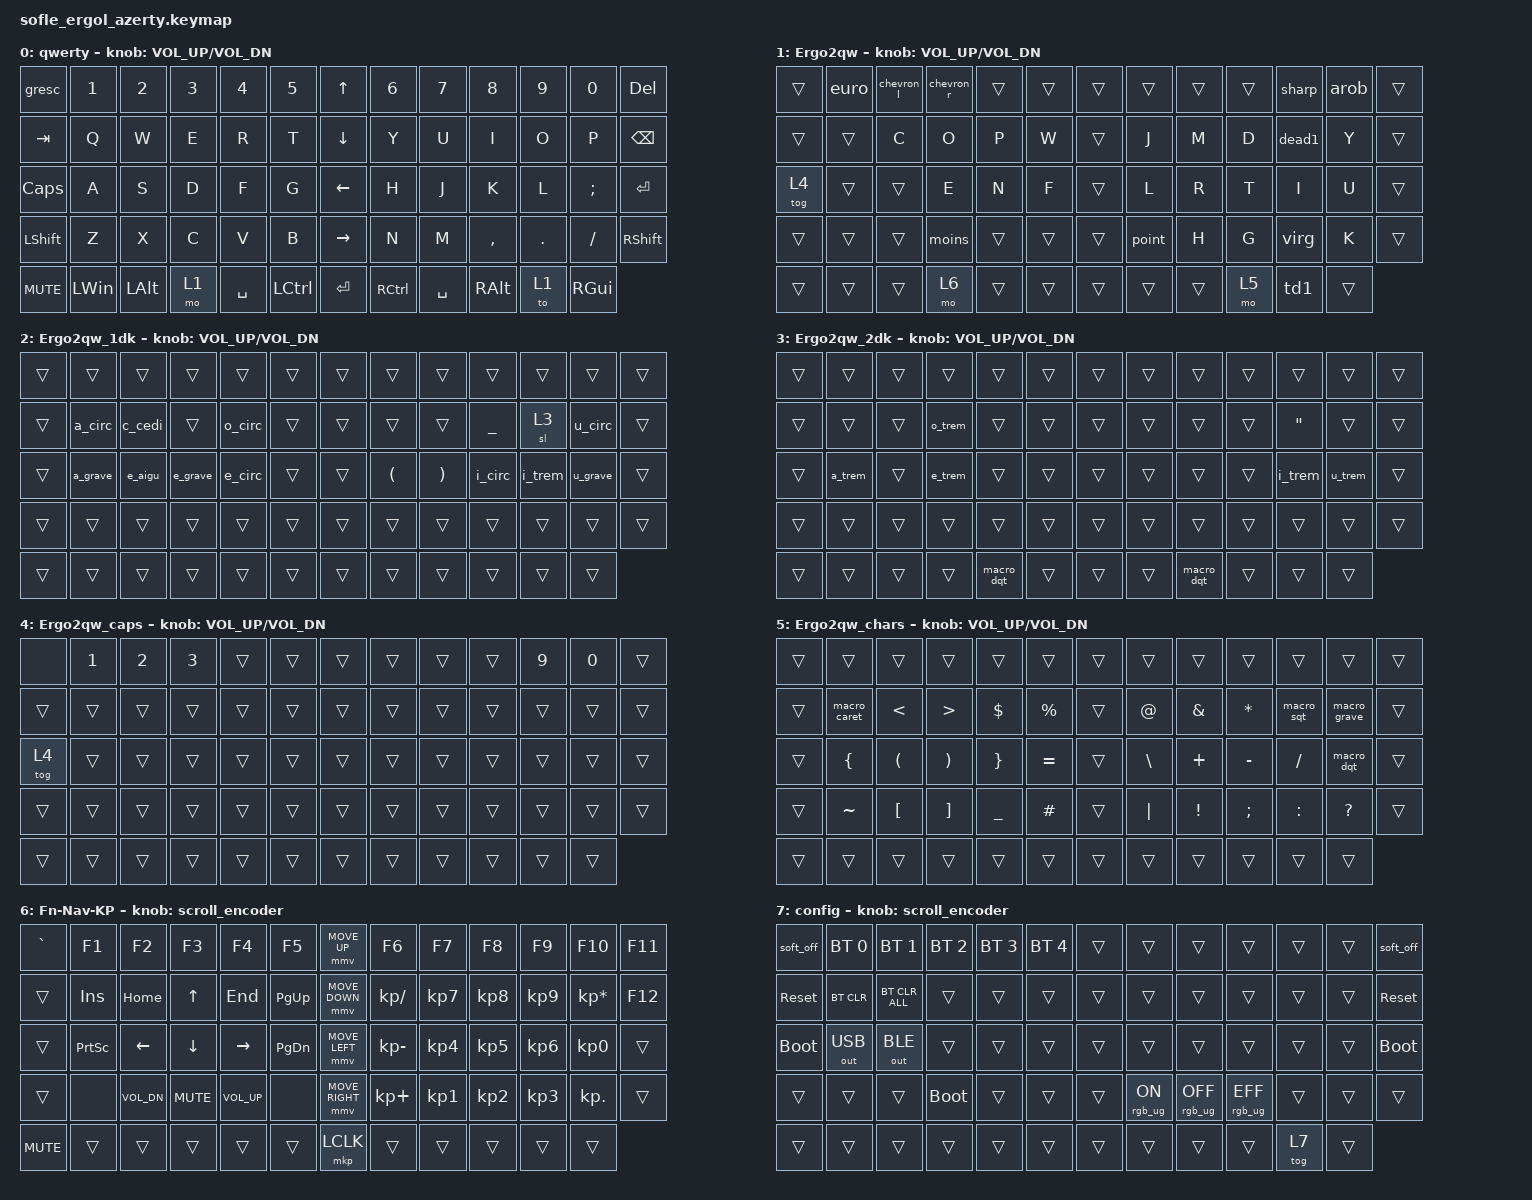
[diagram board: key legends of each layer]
#define ZMK_POINTING_DEFAULT_MOVE_VAL 1200  // 600
#define ZMK_POINTING_DEFAULT_SCRL_VAL 25    // 10

#include <input/processors.dtsi>
#include <zephyr/dt-bindings/input/input-event-codes.h>
#include <behaviors.dtsi>
#include <dt-bindings/zmk/bt.h>
#include <dt-bindings/zmk/keys.h>
#include <dt-bindings/zmk/outputs.h>
#include <dt-bindings/zmk/pointing.h>
#include <dt-bindings/zmk/rgb.h>

&mmv_input_listener { input-processors = <&zip_xy_scaler 2 1>; };

&msc_input_listener { input-processors = <&zip_scroll_scaler 2 1>; };

&msc {
    acceleration-exponent = <1>;      // 0
    time-to-max-speed-ms = <100>;       // 300
    delay-ms = <0>;                   // 0
};

&mmv {
    time-to-max-speed-ms = <500>;
    acceleration-exponent = <1>;
    trigger-period-ms = <16>;
};

/ {
    scroll_encoder: scroll_encoder {
        compatible = "zmk,behavior-sensor-rotate";
        #sensor-binding-cells = <0>;
        bindings = <&msc SCRL_DOWN>, <&msc SCRL_UP>;

        tap-ms = <100>;
    };

    macros {
        ///////////
        // Rangée 1
        ///////////

        // ESC : ESC
        // ` : BSLH SPACE
        macro_grave: macro_grave {
            compatible = "zmk,behavior-macro";
            #binding-cells = <0>;
            bindings
                = <&macro_tap &kp BSLH &kp SPACE>
                ;
        };

        // 1 : LS(N1)
        // euro : RA(E)
        // „ : U+201E : DOUBLE LOW-9 QUOTATION MARK
        macro_dqt_low: macro_double_quote_low {
            ompatible = "zmk,behavior-macro";
            #binding-cells = <0>;
            bindings
                = <&macro_press &kp L_CTL &kp L_SHIFT>
                , <&macro_tap &kp U &kp N2 &kp N0 &kp N1 &kp E &kp SPACE>
                , <&macro_release &kp L_CTL &kp L_SHIFT>
                ;
        };

        // 2 : LS(N2)
        // « : U+00AB : LEFT-POINTING DOUBLE ANGLE QUOTATION MARK {left guillemet; chevrons (in typography)}
        macro_chevron_l: macro_chevron_left {
            compatible = "zmk,behavior-macro";
            #binding-cells = <0>;
            bindings
                = <&macro_press &kp L_CTL &kp L_SHIFT>
                , <&macro_tap &kp U &kp N0 &kp N0 &kp Q &kp B &kp SPACE>
                , <&macro_release &kp L_CTL &kp L_SHIFT>
                ;
        };
        // “ : U+201C : LEFT DOUBLE QUOTATION MARK {double turned comma quotation mark}
        macro_dqm_l: macro_d_quot_mark_left {
            compatible = "zmk,behavior-macro";
            #binding-cells = <0>;
            bindings
                = <&macro_press &kp L_CTL &kp L_SHIFT>
                , <&macro_tap &kp U &kp N2 &kp N0 &kp N1 &kp C &kp SPACE>
                , <&macro_release &kp L_CTL &kp L_SHIFT>
                ;
        };
        // ‘ : U+2018 : LEFT SINGLE QUOTATION MARK {single turned comma quotation mark}
        macro_sqm_l: macro_s_quot_mark_left {
            compatible = "zmk,behavior-macro";
            #binding-cells = <0>;
            bindings
                = <&macro_press &kp L_CTL &kp L_SHIFT>
                , <&macro_tap &kp U &kp N2 &kp N0 &kp N1 &kp N8 &kp SPACE>
                , <&macro_release &kp L_CTL &kp L_SHIFT>
                ;
        };

        // 3 : LS(N3)
        // » : U+00BB : RIGHT-POINTING DOUBLE ANGLE QUOTATION MARK {right guillemet}
        macro_chevron_r: macro_chevron_right {
            compatible = "zmk,behavior-macro";
            #binding-cells = <0>;
            bindings
                = <&macro_press &kp L_CTL &kp L_SHIFT>
                , <&macro_tap &kp U &kp N0 &kp N0 &kp B &kp B &kp SPACE>
                , <&macro_release &kp L_CTL &kp L_SHIFT>
                ;
        };
        // ” : U+201D : RIGHT DOUBLE QUOTATION MARK {double comma quotation mark}
        macro_dqm_r: macro_d_quot_mark_right {
            compatible = "zmk,behavior-macro";
            #binding-cells = <0>;
            bindings
                = <&macro_press &kp L_CTL &kp L_SHIFT>
                , <&macro_tap &kp U &kp N2 &kp N0 &kp N1 &kp D &kp SPACE>
                , <&macro_release &kp L_CTL &kp L_SHIFT>
                ;
        };
        // ‘ : U+2019 : RIGHT SINGLE QUOTATION MARK {single comma quotation mark}
        macro_sqm_r: macro_s_quot_mark_right {
            compatible = "zmk,behavior-macro";
            #binding-cells = <0>;
            bindings
                = <&macro_press &kp L_CTL &kp L_SHIFT>
                , <&macro_tap &kp U &kp N2 &kp N0 &kp N1 &kp N9 &kp SPACE>
                , <&macro_release &kp L_CTL &kp L_SHIFT>
                ;
        };
        
        // 4 : LS(N4)
        // $ : DOLLAR
        // ¢ : U+00A2 : CENT SIGN
        macro_cent: macro_cent {
            compatible = "zmk,behavior-macro";
            #binding-cells = <0>;
            bindings
                = <&macro_press &kp L_CTL &kp L_SHIFT>
                , <&macro_tap &kp U &kp N0 &kp N0 &kp Q &kp N2 &kp SPACE>
                , <&macro_release &kp L_CTL &kp L_SHIFT>
                ;
        }; 

        // 5 : LS(N5)
        // % : DQT
        // ‰ : U+2030 : PER MILLE SIGN {permille, per thousand}
        macro_mer_mil: macro_pour_mille {
            compatible = "zmk,behavior-macro";
            #binding-cells = <0>;
            bindings
                = <&macro_press &kp L_CTL &kp L_SHIFT>
                , <&macro_tap &kp U &kp N2 &kp N0 &kp N3 &kp N0 &kp SPACE>
                , <&macro_release &kp L_CTL &kp L_SHIFT>
                ;
        };
        
        // 6 : LS(N6)
        // ^ : LBKT SPACE
        
        // 7 : LS(N7)
        // & : N7

        // 8 : LS(N8)
        // * : N8

        // 9 : LS(N9)
        // # : RA(N3)
        // ¶ : U+00B6 : PILCROW SIGN {paragraph sign}
        macro_pilcrow: macro_pilcrow {
            compatible = "zmk,behavior-macro";
            #binding-cells = <0>;
            bindings
                = <&macro_press &kp L_CTL &kp L_SHIFT>
                , <&macro_tap &kp U &kp N0 &kp N0 &kp B &kp N6 &kp SPACE>
                , <&macro_release &kp L_CTL &kp L_SHIFT>
                ;
        };

        // 0 : LS(N0)
        // @ : RA(Q)
        // ° : LS(MINUS)
        
        // DELETE

        
        ///////////
        // Rangée 2
        ///////////

        // TAB

        // Q : A
        // â : LBKT A
        // Â : LBKT LS(A)

        // C : C 
        // ç : N9
        // Ç : U+00C7 : LATIN CAPITAL LETTER C WITH CEDILLA
        macro_c_c_cedi: macro_cap_c_cedille {
            compatible = "zmk,behavior-macro";
            #binding-cells = <0>;
            bindings
                = <&macro_press &kp L_CTL &kp L_SHIFT>
                , <&macro_tap &kp U &kp N0 &kp N0 &kp C &kp N7 &kp SPACE>
                , <&macro_release &kp L_CTL &kp L_SHIFT>
                ;
        };

        // O : O
        // œ : U+0153 : LATIN SMALL LIGATURE OE {ethel (from Old English eðel)}
        macro_o_e: macro_o_e {
            compatible = "zmk,behavior-macro";
            #binding-cells = <0>;
            bindings
                = <&macro_press &kp L_CTL &kp L_SHIFT>
                , <&macro_tap &kp U &kp N0 &kp N1 &kp N5 &kp N3 &kp SPACE>
                , <&macro_release &kp L_CTL &kp L_SHIFT>
                ;
        };
        // Œ : U+0152 : LATIN CAPITAL LIGATURE OE
        macro_c_o_e: macro_cap_o_e {
            compatible = "zmk,behavior-macro";
            #binding-cells = <0>;
            bindings
                = <&macro_press &kp L_CTL &kp L_SHIFT>
                , <&macro_tap &kp U &kp N0 &kp N1 &kp N5 &kp N2 &kp SPACE>
                , <&macro_release &kp L_CTL &kp L_SHIFT>
                ;
        };

        // P : P 
        // ô : LBKT O
        // Ô : LBKT LS(O)

        // W : Z 
        
        // J : J
        
        // M : SEMI
        // µ : BSLH

        // D : D
        // _ : UNDERSCORE

        // 1DK : sticky layer
        // 2DK : sticky layer // " : LS(LBKT)
        // ! : N8
        

        // Y : Y
        // û : LBKT U
        // Û : LBKT LS(U)
        
        
        ///////////
        // Rangée 3
        ///////////

        // CAPS

        // A : Q
        // à : N0
        // À : U+00C0 : LATIN CAPITAL LETTER A WITH GRAVE
        macro_c_a_grave: macro_cap_a_grave {
            compatible = "zmk,behavior-macro";
            #binding-cells = <0>;
            bindings
                = <&macro_press &kp L_CTL &kp L_SHIFT>
                , <&macro_tap &kp U &kp N0 &kp N0 &kp C &kp N0 &kp SPACE>
                , <&macro_release &kp L_CTL &kp L_SHIFT>
                ;
        };

        // S : S
        // é : N2
        // É : U+00C9 : LATIN CAPITAL LETTER E WITH ACUTE
        macro_c_e_acute: macro_cap_e_acute {
            compatible = "zmk,behavior-macro";
            #binding-cells = <0>;
            bindings
                = <&macro_press &kp L_CTL &kp L_SHIFT>
                , <&macro_tap &kp U &kp N0 &kp N0 &kp C &kp N9 &kp SPACE>
                , <&macro_release &kp L_CTL &kp L_SHIFT>
                ;
        };

        // E : E
        // è : N3
        // È : U+00C8 : LATIN CAPITAL LETTER E WITH GRAVE
        macro_c_e_grave: macro_cap_e_grave {
            compatible = "zmk,behavior-macro";
            #binding-cells = <0>;
            bindings
                = <&macro_press &kp L_CTL &kp L_SHIFT>
                , <&macro_tap &kp U &kp N0 &kp N0 &kp C &kp N8 &kp SPACE>
                , <&macro_release &kp L_CTL &kp L_SHIFT>
                ;
        };
        
        // N : N
        // ê : LBKT E
        // Ê : LBKT LS(E)

        // F : F
        // ñ : U+00F1 : LATIN SMALL LETTER N WITH TILDE
        macro_n_tilde: macro_n_tilde {
            compatible = "zmk,behavior-macro";
            #binding-cells = <0>;
            bindings
                = <&macro_press &kp L_CTL &kp L_SHIFT>
                , <&macro_tap &kp U &kp N0 &kp N0 &kp F &kp N1 &kp SPACE>
                , <&macro_release &kp L_CTL &kp L_SHIFT>
                ;
        };
        // Ñ : U+00D1 : LATIN CAPITAL LETTER N WITH TILDE
        macro_c_n_tilde: macro_cap_n_tilde {
            compatible = "zmk,behavior-macro";
            #binding-cells = <0>;
            bindings
                = <&macro_press &kp L_CTL &kp L_SHIFT>
                , <&macro_tap &kp U &kp N0 &kp N0 &kp D &kp N1 &kp SPACE>
                , <&macro_release &kp L_CTL &kp L_SHIFT>
                ;
        };

        // L : L
        // ( : N5

        // R : R
        // ) : MINUS

        // T : T
        // î : LBKT I
        // Î : LBKT LS(I)

        // I : I
        // ï : LS(LBKT) I
        // Ï : LS(LBKT) LS(I)

        // U : U
        // ù : SQT
        // Ù : U+00D9 : LATIN CAPITAL LETTER U WITH GRAVE
        macro_c_u_grave: macro_cap_u_grave {
            compatible = "zmk,behavior-macro";
            #binding-cells = <0>;
            bindings
                = <&macro_press &kp L_CTL &kp L_SHIFT>
                , <&macro_tap &kp U &kp N0 &kp N0 &kp D &kp N9 &kp SPACE>
                , <&macro_release &kp L_CTL &kp L_SHIFT>
                ;
        };

        // ENTER

        ///////////
        // Rangée 4 
        ///////////

        // L_SHIFT

        // Z : W
        // æ : U+00E6 : LATIN SMALL LETTER AE {latin small ligature ae (1.1); ash (from Old English æsc)}
        macro_a_e: macro_a_e {
            compatible = "zmk,behavior-macro";
            #binding-cells = <0>;
            bindings
                = <&macro_press &kp L_CTL &kp L_SHIFT>
                , <&macro_tap &kp U &kp N0 &kp N0 &kp E &kp N6 &kp SPACE>
                , <&macro_release &kp L_CTL &kp L_SHIFT>
                ;
        };
        // Æ : U+00C6 : LATIN CAPITAL LETTER AE {latin capital ligature ae (1.1)}
        macro_c_a_e: macro_cap_a_e {
            compatible = "zmk,behavior-macro";
            #binding-cells = <0>;
            bindings
                = <&macro_press &kp L_CTL &kp L_SHIFT>
                , <&macro_tap &kp U &kp N0 &kp N0 &kp C &kp N6 &kp SPACE>
                , <&macro_release &kp L_CTL &kp L_SHIFT>
                ;
        };

        // X : X
        // ß : U+00DF : LATIN SMALL LETTER SHARP S {Eszett}
        macro_s_eszett: macro_s_eszett {
            compatible = "zmk,behavior-macro";
            #binding-cells = <0>;
            bindings
                = <&macro_press &kp L_CTL &kp L_SHIFT>
                , <&macro_tap &kp U &kp N0 &kp N0 &kp D &kp F &kp SPACE>
                , <&macro_release &kp L_CTL &kp L_SHIFT>
                ;
        };
        // ẞ : U+1E9E : LATIN CAPITAL LETTER SHARP S
        macro_s_sharp: macro_s_sharp {
            compatible = "zmk,behavior-macro";
            #binding-cells = <0>;
            bindings
                = <&macro_press &kp L_CTL &kp L_SHIFT>
                , <&macro_tap &kp U &kp N1 &kp E &kp N9 &kp E &kp SPACE>
                , <&macro_release &kp L_CTL &kp L_SHIFT>
                ;
        };

        // - : N6
        // ? : LS(M)
        // ‑ : U+2011 : NON-BREAKING HYPHEN
        macro_nb_hyphen: macro_non_breaking_hyphen {
            compatible = "zmk,behavior-macro";
            #binding-cells = <0>;
            bindings
                = <&macro_press &kp L_CTL &kp L_SHIFT>
                , <&macro_tap &kp U &kp N2 &kp N0 &kp N1 &kp N1 &kp SPACE>
                , <&macro_release &kp L_CTL &kp L_SHIFT>
                ;
        };
        // ¿ : U+00BF : INVERTED QUESTION MARK {turned question mark}
        macro_inv_qmark: macro_inv_question_mark {
            compatible = "zmk,behavior-macro";
            #binding-cells = <0>;
            bindings
                = <&macro_press &kp L_CTL &kp L_SHIFT>
                , <&macro_tap &kp U &kp N0 &kp N0 &kp B &kp F &kp SPACE>
                , <&macro_release &kp L_CTL &kp L_SHIFT>
                ;
        };

        // V : V
        // – : U+2013 : EN DASH
        macro_en_dash: macro_en_dash {
            compatible = "zmk,behavior-macro";
            #binding-cells = <0>;
            bindings
                = <&macro_press &kp L_CTL &kp L_SHIFT>
                , <&macro_tap &kp U &kp N2 &kp N0 &kp N1 &kp N3 &kp SPACE>
                , <&macro_release &kp L_CTL &kp L_SHIFT>
                ;
        };


        // B : B
        // — : U+2014 : EM DASH
        macro_em_dash: macro_em_dash {
            compatible = "zmk,behavior-macro";
            #binding-cells = <0>;
            bindings
                = <&macro_press &kp L_CTL &kp L_SHIFT>
                , <&macro_tap &kp U &kp N2 &kp N0 &kp N1 &kp N4 &kp SPACE>
                , <&macro_release &kp L_CTL &kp L_SHIFT>
                ;
        };

        // . : LS(COMMA)
        // : : DOT
        // … : U+2026 : HORIZONTAL ELLIPSIS {three dot leader}
        macro_h_ellipsis: macro_horizontal_ellipsis {
            compatible = "zmk,behavior-macro";
            #binding-cells = <0>;
            bindings
                = <&macro_press &kp L_CTL &kp L_SHIFT>
                , <&macro_tap &kp U &kp N2 &kp N0 &kp N2 &kp N6 &kp SPACE>
                , <&macro_release &kp L_CTL &kp L_SHIFT>
                ;
        };

        // H : H

        // G : G
        // TODO LAYER TOG ALPHABET GREC !!!

        // , : M
        // ; : COMMA
        // · : U+00B7 : MIDDLE DOT {midpoint (in typography); Georgian comma; Greek middle dot (ano teleia)}
        macro_m_dot: macro_middle_dot {
            compatible = "zmk,behavior-macro";
            #binding-cells = <0>;
            bindings
                = <&macro_press &kp L_CTL &kp L_SHIFT>
                , <&macro_tap &kp U &kp N0 &kp N0 &kp B &kp N7 &kp SPACE>
                , <&macro_release &kp L_CTL &kp L_SHIFT>
                ;
        };
        
        // K : K

        // R_SHIFT

        ///////////
        // Rangée 5
        ///////////

        // L_GUI
        
        // L_ALT

        // LAYER MOD NAV

        // SPACE
        // espace insécable fine : U+202F : NARROW NO-BREAK SPACE [NNBSP]
        macro_sp_insec_fine: macro_space_insec {
            compatible = "zmk,behavior-macro";
            #binding-cells = <0>;
            bindings
                = <&macro_press &kp L_CTL &kp L_SHIFT>
                , <&macro_tap &kp U &kp N2 &kp N0 &kp N2 &kp F &kp SPACE>
                , <&macro_release &kp L_CTL &kp L_SHIFT>
                ;
        };
        // ’ : macro_sqm_r
        
        // L_CTL

        // R_CTL

        // SPACE
        // espace insécable fine : macro_sp_insec_fine
        // ’ : macro_sqm_r

        // LAYER MOD CHARS
    
        // R_ALT

        // R_GUI

        ///////////
        // Symboles
        // Rangée 1
        ///////////

        // TRANS

        // ₁ : U+2081 : SUBSCRIPT ONE
        macro_sub_1: macro_subscript_1 {
            compatible = "zmk,behavior-macro";
            #binding-cells = <0>;
            bindings
                = <&macro_press &kp L_CTL &kp L_SHIFT>
                , <&macro_tap &kp U &kp N2 &kp N0 &kp N8 &kp N1 &kp SPACE>
                , <&macro_release &kp L_CTL &kp L_SHIFT>
                ;
        };
        // ¹ : U+00B9 : SUPERSCRIPT ONE
        macro_sup_1: macro_superscript_1 {
            compatible = "zmk,behavior-macro";
            #binding-cells = <0>;
            bindings
                = <&macro_press &kp L_CTL &kp L_SHIFT>
                , <&macro_tap &kp U &kp N0 &kp N0 &kp B &kp N9 &kp SPACE>
                , <&macro_release &kp L_CTL &kp L_SHIFT>
                ;
        };

        // ₂ : U+2082 : SUBSCRIPT TWO
        macro_sub_2: macro_subscript_2 {
            compatible = "zmk,behavior-macro";
            #binding-cells = <0>;
            bindings
                = <&macro_press &kp L_CTL &kp L_SHIFT>
                , <&macro_tap &kp U &kp N2 &kp N0 &kp N8 &kp N2 &kp SPACE>
                , <&macro_release &kp L_CTL &kp L_SHIFT>
                ;
        };
        // ² : GRAVE

        // ₃ : U+2083 : SUBSCRIPT THREE
        macro_sub_3: macro_subscript_3 {
            compatible = "zmk,behavior-macro";
            #binding-cells = <0>;
            bindings
                = <&macro_press &kp L_CTL &kp L_SHIFT>
                , <&macro_tap &kp U &kp N2 &kp N0 &kp N8 &kp N3 &kp SPACE>
                , <&macro_release &kp L_CTL &kp L_SHIFT>
                ;
        };
        // ³ : LS(GRAVE)

        // ₄ : U+2084 : SUBSCRIPT FOUR
        macro_sub_4: macro_subscript_4 {
            compatible = "zmk,behavior-macro";
            #binding-cells = <0>;
            bindings
                = <&macro_press &kp L_CTL &kp L_SHIFT>
                , <&macro_tap &kp U &kp N2 &kp N0 &kp N8 &kp N4 &kp SPACE>
                , <&macro_release &kp L_CTL &kp L_SHIFT>
                ;
        };
        // ⁴ : U+2074 : SUPERSCRIPT FOUR
        macro_sup_4: macro_superscript_4 {
            compatible = "zmk,behavior-macro";
            #binding-cells = <0>;
            bindings
                = <&macro_press &kp L_CTL &kp L_SHIFT>
                , <&macro_tap &kp U &kp N2 &kp N0 &kp N7 &kp N4 &kp SPACE>
                , <&macro_release &kp L_CTL &kp L_SHIFT>
                ;
        };

        // ₅ : U+2085 : SUBSCRIPT FIVE
        macro_sub_5: macro_subscript_5 {
            compatible = "zmk,behavior-macro";
            #binding-cells = <0>;
            bindings
                = <&macro_press &kp L_CTL &kp L_SHIFT>
                , <&macro_tap &kp U &kp N2 &kp N0 &kp N8 &kp N5 &kp SPACE>
                , <&macro_release &kp L_CTL &kp L_SHIFT>
                ;
        };
        // ⁵ : U+2075 : SUPERSCRIPT FIVE
        macro_sup_5: macro_superscript_5 {
            compatible = "zmk,behavior-macro";
            #binding-cells = <0>;
            bindings
                = <&macro_press &kp L_CTL &kp L_SHIFT>
                , <&macro_tap &kp U &kp N2 &kp N0 &kp N7 &kp N5 &kp SPACE>
                , <&macro_release &kp L_CTL &kp L_SHIFT>
                ;
        };

        // ₆ : U+2086 : SUBSCRIPT SIX
        macro_sub_6: macro_subscript_6 {
            compatible = "zmk,behavior-macro";
            #binding-cells = <0>;
            bindings
                = <&macro_press &kp L_CTL &kp L_SHIFT>
                , <&macro_tap &kp U &kp N2 &kp N0 &kp N8 &kp N6 &kp SPACE>
                , <&macro_release &kp L_CTL &kp L_SHIFT>
                ;
        };
        // ⁶ : U+2076 : SUPERSCRIPT SIX
        macro_sup_6: macro_superscript_6 {
            compatible = "zmk,behavior-macro";
            #binding-cells = <0>;
            bindings
                = <&macro_press &kp L_CTL &kp L_SHIFT>
                , <&macro_tap &kp U &kp N2 &kp N0 &kp N7 &kp N6 &kp SPACE>
                , <&macro_release &kp L_CTL &kp L_SHIFT>
                ;
        };

        // ₇ : U+2087 : SUBSCRIPT SEVEN
        macro_sub_7: macro_subscript_7 {
            compatible = "zmk,behavior-macro";
            #binding-cells = <0>;
            bindings
                = <&macro_press &kp L_CTL &kp L_SHIFT>
                , <&macro_tap &kp U &kp N2 &kp N0 &kp N8 &kp N7 &kp SPACE>
                , <&macro_release &kp L_CTL &kp L_SHIFT>
                ;
        };
        // ⁷ : U+2077 : SUPERSCRIPT SEVEN
        macro_sup_7: macro_superscript_7 {
            compatible = "zmk,behavior-macro";
            #binding-cells = <0>;
            bindings
                = <&macro_press &kp L_CTL &kp L_SHIFT>
                , <&macro_tap &kp U &kp N2 &kp N0 &kp N7 &kp N7 &kp SPACE>
                , <&macro_release &kp L_CTL &kp L_SHIFT>
                ;
        };

        // ₈ : U+2088 : SUBSCRIPT EIGHT
        macro_sub_8: macro_subscript_8 {
            compatible = "zmk,behavior-macro";
            #binding-cells = <0>;
            bindings
                = <&macro_press &kp L_CTL &kp L_SHIFT>
                , <&macro_tap &kp U &kp N2 &kp N0 &kp N8 &kp N8 &kp SPACE>
                , <&macro_release &kp L_CTL &kp L_SHIFT>
                ;
        };
        // ⁸ : U+2078 : SUPERSCRIPT EIGHT
        macro_sup_8: macro_superscript_8 {
            compatible = "zmk,behavior-macro";
            #binding-cells = <0>;
            bindings
                = <&macro_press &kp L_CTL &kp L_SHIFT>
                , <&macro_tap &kp U &kp N2 &kp N0 &kp N7 &kp N8 &kp SPACE>
                , <&macro_release &kp L_CTL &kp L_SHIFT>
                ;
        };

        // ₉ : U+2089 : SUBSCRIPT NINE
        macro_sub_9: macro_subscript_9 {
            compatible = "zmk,behavior-macro";
            #binding-cells = <0>;
            bindings
                = <&macro_press &kp L_CTL &kp L_SHIFT>
                , <&macro_tap &kp U &kp N2 &kp N0 &kp N8 &kp N9 &kp SPACE>
                , <&macro_release &kp L_CTL &kp L_SHIFT>
                ;
        };
        // ⁹ : U+2079 : SUPERSCRIPT NINE
        macro_sup_9: macro_superscript_9 {
            compatible = "zmk,behavior-macro";
            #binding-cells = <0>;
            bindings
                = <&macro_press &kp L_CTL &kp L_SHIFT>
                , <&macro_tap &kp U &kp N2 &kp N0 &kp N7 &kp N9 &kp SPACE>
                , <&macro_release &kp L_CTL &kp L_SHIFT>
                ;
        };

        // ₀ : U+2080 : SUBSCRIPT ZERO
        macro_sub_0: macro_subscript_0 {
            compatible = "zmk,behavior-macro";
            #binding-cells = <0>;
            bindings
                = <&macro_press &kp L_CTL &kp L_SHIFT>
                , <&macro_tap &kp U &kp N2 &kp N0 &kp N8 &kp N0 &kp SPACE>
                , <&macro_release &kp L_CTL &kp L_SHIFT>
                ;
        };
        // ⁰ : U+2070 : SUPERSCRIPT ZERO
        macro_sup_0: macro_superscript_0 {
            compatible = "zmk,behavior-macro";
            #binding-cells = <0>;
            bindings
                = <&macro_press &kp L_CTL &kp L_SHIFT>
                , <&macro_tap &kp U &kp N2 &kp N0 &kp N7 &kp N0 &kp SPACE>
                , <&macro_release &kp L_CTL &kp L_SHIFT>
                ;
        };

        // TRANS

        ///////////
        // Symboles
        // Rangée 2
        ///////////

        // TRANS

        // ^ : LBKT SPACE
        // ^ : MODIFIER : LBKT 

        // < : U+003C : LESS-THAN SIGN
        macro_less_than: macro_less_than {
            compatible = "zmk,behavior-macro";
            #binding-cells = <0>;
            bindings
                = <&macro_press &kp L_CTL &kp L_SHIFT>
                , <&macro_tap &kp U &kp N0 &kp N0 &kp N3 &kp C &kp SPACE>
                , <&macro_release &kp L_CTL &kp L_SHIFT>
                ;
        };
        // ≤ : U+2264 : LESS-THAN OR EQUAL TO
        macro_less_eq_to: macro_less_equal_to {
            compatible = "zmk,behavior-macro";
            #binding-cells = <0>;
            bindings
                = <&macro_press &kp L_CTL &kp L_SHIFT>
                , <&macro_tap &kp U &kp N2 &kp N2 &kp N6 &kp N4 &kp SPACE>
                , <&macro_release &kp L_CTL &kp L_SHIFT>
                ;
        };

        // > : U+003E : GREATER-THAN SIGN
        macro_great_than: macro_greater_than {
            compatible = "zmk,behavior-macro";
            #binding-cells = <0>;
            bindings
                = <&macro_press &kp L_CTL &kp L_SHIFT>
                , <&macro_tap &kp U &kp N0 &kp N0 &kp N3 &kp E &kp SPACE>
                , <&macro_release &kp L_CTL &kp L_SHIFT>
                ;
        };
        // ≥ : U+2265 : GREATER-THAN OR EQUAL TO
        macro_great_eq_to: macro_greater_equal_to {
            compatible = "zmk,behavior-macro";
            #binding-cells = <0>;
            bindings
                = <&macro_press &kp L_CTL &kp L_SHIFT>
                , <&macro_tap &kp U &kp N2 &kp N2 &kp N6 &kp N5 &kp SPACE>
                , <&macro_release &kp L_CTL &kp L_SHIFT>
                ;
        };

        // $ : U+0024 : DOLLAR SIGN {milréis, escudo} : RBKT
        // ¤ : TODO CURRENCY LAYER TOG

        // % : U+0025 : PERCENT SIGN : LS(SQT)
        // ‰ : U+2030 : PER MILLE SIGN {permille, per thousand}
        macro_per_mil: macro_per_mille {
            compatible = "zmk,behavior-macro";
            #binding-cells = <0>;
            bindings
                = <&macro_press &kp L_CTL &kp L_SHIFT>
                , <&macro_tap &kp U &kp N2 &kp N0 &kp N3 &kp N0 &kp SPACE>
                , <&macro_release &kp L_CTL &kp L_SHIFT>
                ;
        };

        // @ : RA(N2)
        // ° : TODO ACCENT ROND LAYER TOG 

        // & : N1
        // NONE

        // * : LS(RBKT)
        // × : U+00D7 : MULTIPLICATION SIGN {z notation Cartesian product}
        macro_multiply: macro_multiply {
            compatible = "zmk,behavior-macro";
            #binding-cells = <0>;
            bindings
                = <&macro_press &kp L_CTL &kp L_SHIFT>
                , <&macro_tap &kp U &kp N0 &kp N0 &kp D &kp N7 &kp SPACE>
                , <&macro_release &kp L_CTL &kp L_SHIFT>
                ;
        };

        // ' : N4
        // ' : RA(SQT)

        // ` : macro_grave
        // ` : RA(BSLH)

        // TRANS

        ///////////
        // Symboles
        // Rangée 3
        ///////////

        // TRANS

        // { : RA(N9)
        // ˇ : TODO ACCENT CIRCONFLEXE INVERSÉ LAYER TOG

        // ( : N5
        // NONE

        // ) : N6
        // NONE

        // } : RA(N0)
        // ˙ : TODO ACCENT POINT LAYER TOG

        // = : FSLH
        // ≠ : U+2260 : NOT EQUAL TO
        macro_not_equal: macro_not_equal {
            compatible = "zmk,behavior-macro";
            #binding-cells = <0>;
            bindings
                = <&macro_press &kp L_CTL &kp L_SHIFT>
                , <&macro_tap &kp U &kp N2 &kp N2 &kp N6 &kp N0 &kp SPACE>
                , <&macro_release &kp L_CTL &kp L_SHIFT>
                ;
        };

        // \ : RA(N8)
        // / : TODO BARRÉ LAYER TOG

        // + : LS(FSLH)
        // ± : U+00B1 : PLUS-MINUS SIGN {biquintile (astrological aspect: 144°)}
        macro_plus_minus: macro_plus_minus {
            compatible = "zmk,behavior-macro";
            #binding-cells = <0>;
            bindings
                = <&macro_press &kp L_CTL &kp L_SHIFT>
                , <&macro_tap &kp U &kp N0 &kp N0 &kp B &kp N1 &kp SPACE>
                , <&macro_release &kp L_CTL &kp L_SHIFT>
                ;
        };

        // - : N6
        // ¯ : TODO ACCENT TRAIT LAYER TOG

        // / : LS(DOT)
        // ÷ : U+00F7 : DIVISION SIGN {obelus}
        macro_division: macro_division {
            compatible = "zmk,behavior-macro";
            #binding-cells = <0>;
            bindings
                = <&macro_press &kp L_CTL &kp L_SHIFT>
                , <&macro_tap &kp U &kp N0 &kp N0 &kp F &kp N7 &kp SPACE>
                , <&macro_release &kp L_CTL &kp L_SHIFT>
                ;
        };

        // " : N3
        // ˝ : TODO ACCENT DOUBLE AIGU LAYER TOG

        // TRANS

        ///////////
        // Symboles
        // Rangée 4
        ///////////

        // TRANS

        // ~ : RA(N2)
        // ~ : TODO ACCENT TILDE LAYER TOG

        // [ : RA(N5)
        // , : TODO CÉDILLE LAYER TOG

        // ] : RA(MINUS)
        // ˛ : TODO CÉDILLE INVERSÉE LAYER TOG

        // _ : RA(N8)
        // – : U+2013 : EN DASH : macro_en_dash

        // # : RA(N3)
        // NONE

        // | : RA(N6)
        // ¦ : U+00A6 : BROKEN BAR {parted rule (in typography)}
        macro_broken_bar: macro_broken_bar {
            compatible = "zmk,behavior-macro";
            #binding-cells = <0>;
            bindings
                = <&macro_press &kp L_CTL &kp L_SHIFT>
                , <&macro_tap &kp U &kp N0 &kp N0 &kp A &kp N6 &kp SPACE>
                , <&macro_release &kp L_CTL &kp L_SHIFT>
                ;
        };

        // ! : FSLH
        // ¬ : U+00AC : NOT SIGN {angled dash (in typography)}
        macro_not: macro_not {
            compatible = "zmk,behavior-macro";
            #binding-cells = <0>;
            bindings
                = <&macro_press &kp L_CTL &kp L_SHIFT>
                , <&macro_tap &kp U &kp N0 &kp N0 &kp A &kp C &kp SPACE>
                , <&macro_release &kp L_CTL &kp L_SHIFT>
                ;
        };

        // ; : COMMA
        // ¸ : TODO CÉDILLE COURBE LAYER TOG

        // : : DOT
        // : : DOT

        // ? : LS(M)
        // ˘ : TODO ACCENT CIRCONFLEXE INVERSÉ ARRONDI LAYER TOG

        // TRANS

        ///////////
        // Symboles
        // Rangée 4
        ///////////

        // TRANS

        // TRANS

        // TRANS

        // espace insécable fine : macro_sp_insec_fine
        // espace insécable : U+00A0 : NO-BREAK SPACE [NBSP]
        macro_sp_insec: macro_sp_insec {
            compatible = "zmk,behavior-macro";
            #binding-cells = <0>;
            bindings
                = <&macro_press &kp L_CTL &kp L_SHIFT>
                , <&macro_tap &kp U &kp N0 &kp N0 &kp A &kp N0 &kp SPACE>
                , <&macro_release &kp L_CTL &kp L_SHIFT>
                ;
        };

        // TRANS

        // TRANS

        // espace insécable fine : macro_sp_insec_fine
        // espace insécable : macro_sp_insec

        // TRANS

        // TRANS

        // TRANS

    };    

  behaviors {
        gresc: grave_escape {
            compatible = "zmk,behavior-mod-morph";
            #binding-cells = <0>;
            bindings = <&kp ESC>, <&macro_grave>;
            mods = <(MOD_LGUI|MOD_LSFT|MOD_RGUI|MOD_RSFT)>;
        };

        euro: euro {
            compatible = "zmk,behavior-mod-morph";
            #binding-cells = <0>;
            bindings = <&kp N1>, <&kp RA(N5)>;
            mods = <(MOD_LSFT|MOD_RSFT)>;
        };

        chevron_l: chevron_left {
            compatible = "zmk,behavior-mod-morph";
            #binding-cells = <0>;
            bindings = <&kp N2>, <&macro_chevron_l>;
            mods = <(MOD_LSFT|MOD_RSFT)>;
        };
 
        chevron_r: chevron_right {
            compatible = "zmk,behavior-mod-morph";
            #binding-cells = <0>;
            bindings = <&kp N3>, <&macro_chevron_r>;
            mods = <(MOD_LSFT|MOD_RSFT)>;
        };

        sharp: sharp {
            compatible = "zmk,behavior-mod-morph";
            #binding-cells = <0>;
            bindings = <&kp N9>, <&kp LS(N3)>;
            mods = <(MOD_LSFT|MOD_RSFT)>;
        };

        arob: arobase {
            compatible = "zmk,behavior-mod-morph";
            #binding-cells = <0>;
            bindings = <&kp N0>, <&kp LS(N2)>;
            mods = <(MOD_LSFT|MOD_RSFT)>;
        };
    
        moins: moins_p_inter {
            compatible = "zmk,behavior-mod-morph";
            #binding-cells = <0>;
            bindings = <&kp MINUS>, <&kp LS(FSLH)>;
            mods = <(MOD_LSFT|MOD_RSFT)>;
        };

        point: point_2_points {
            compatible = "zmk,behavior-mod-morph";
            #binding-cells = <0>;
            bindings = <&kp PERIOD>, <&kp LS(SEMI)>;
            mods = <(MOD_LSFT|MOD_RSFT)>;
        };

        virg: virgule_p_virg {
            compatible = "zmk,behavior-mod-morph";
            #binding-cells = <0>;
            bindings = <&kp COMMA>, <&kp SEMI>;
            mods = <(MOD_LSFT|MOD_RSFT)>;
        };

        dead1: dead_1_key_expl {
            compatible = "zmk,behavior-mod-morph";
            #binding-cells = <0>;
            bindings = <&sl 2>, <&kp LS(N1)>;
            mods = <(MOD_LSFT|MOD_RSFT)>;
        };

        td0: tap_dance_ergol_conf {
            compatible = "zmk,behavior-tap-dance";
            label = "ERGOL_CONF";
            #binding-cells = <0>;
            tapping-term-ms = <200>;
            bindings = <&to 1>, <&tog 7>;
        };

        td1: tap_dance_qwerty_conf {
            compatible = "zmk,behavior-tap-dance";
            label = "QWERTY_CONF";
            #binding-cells = <0>;
            tapping-term-ms = <200>;
            bindings = <&to 0>, <&tog 7>;
        };

        e_aigu: e_aigu {
            compatible = "zmk,behavior-mod-morph";
            #binding-cells = <0>;
            bindings = <&macro_e_aigu>, <&macro_cap_e_aigu>;
            mods = <(MOD_LSFT|MOD_RSFT)>;
        };
 
        e_grave: e_grave {
            compatible = "zmk,behavior-mod-morph";
            #binding-cells = <0>;
            bindings = <&macro_e_grave>, <&macro_cap_e_grave>;
            mods = <(MOD_LSFT|MOD_RSFT)>;
        };

        e_circ: e_circ {
            compatible = "zmk,behavior-mod-morph";
            #binding-cells = <0>;
            bindings = <&macro_e_circ>, <&macro_cap_e_circ>;
            mods = <(MOD_LSFT|MOD_RSFT)>;
        };

        e_trem: e_trem {
            compatible = "zmk,behavior-mod-morph";
            #binding-cells = <0>;
            bindings = <&macro_e_trem>, <&macro_cap_e_trem>;
            mods = <(MOD_LSFT|MOD_RSFT)>;
        };

        a_grave: a_grave {
            compatible = "zmk,behavior-mod-morph";
            #binding-cells = <0>;
            bindings = <&macro_a_grave>, <&macro_cap_a_grave>;
            mods = <(MOD_LSFT|MOD_RSFT)>;
        };

        a_circ: a_circ {
            compatible = "zmk,behavior-mod-morph";
            #binding-cells = <0>;
            bindings = <&macro_a_circ>, <&macro_cap_a_circ>;
            mods = <(MOD_LSFT|MOD_RSFT)>;
        };

        a_trem: a_trem {
            compatible = "zmk,behavior-mod-morph";
            #binding-cells = <0>;
            bindings = <&macro_a_trem>, <&macro_cap_a_trem>;
            mods = <(MOD_LSFT|MOD_RSFT)>;
        };

        u_grave: u_grave {
            compatible = "zmk,behavior-mod-morph";
            #binding-cells = <0>;
            bindings = <&macro_u_grave>, <&macro_cap_u_grave>;
            mods = <(MOD_LSFT|MOD_RSFT)>;
        };

        u_circ: u_circ {
            compatible = "zmk,behavior-mod-morph";
            #binding-cells = <0>;
            bindings = <&macro_u_circ>, <&macro_cap_u_circ>;
            mods = <(MOD_LSFT|MOD_RSFT)>;
        };

        u_trem: u_trem {
            compatible = "zmk,behavior-mod-morph";
            #binding-cells = <0>;
            bindings = <&macro_u_trem>, <&macro_cap_u_trem>;
            mods = <(MOD_LSFT|MOD_RSFT)>;
        };

        i_circ: i_circ {
            compatible = "zmk,behavior-mod-morph";
            #binding-cells = <0>;
            bindings = <&macro_i_circ>, <&macro_cap_i_circ>;
            mods = <(MOD_LSFT|MOD_RSFT)>;
        };

        i_trem: i_trem {
            compatible = "zmk,behavior-mod-morph";
            #binding-cells = <0>;
            bindings = <&macro_i_trem>, <&macro_cap_i_trem>;
            mods = <(MOD_LSFT|MOD_RSFT)>;
        };

        o_circ: o_circ {
            compatible = "zmk,behavior-mod-morph";
            #binding-cells = <0>;
            bindings = <&macro_o_circ>, <&macro_cap_o_circ>;
            mods = <(MOD_LSFT|MOD_RSFT)>;
        };

        o_trem: o_trem {
            compatible = "zmk,behavior-mod-morph";
            #binding-cells = <0>;
            bindings = <&macro_o_trem>, <&macro_cap_o_trem>;
            mods = <(MOD_LSFT|MOD_RSFT)>;
        };

        c_cedi: c_cedi {
            compatible = "zmk,behavior-mod-morph";
            #binding-cells = <0>;
            bindings = <&macro_c_cedi>, <&macro_cap_c_cedi>;
            mods = <(MOD_LSFT|MOD_RSFT)>;
        };
    };

    keymap {
        compatible = "zmk,keymap";

        default_layer { // layer 0

            display-name = "qwerty";
            label = "qwerty";

// --------------------------------------------------------------------------------------------------------------------
// | ESC     |  1  |  2  |  3   |  4   |  5   |   | UP_ARROW    |   |  6   |  7    |  8    |  9   |   0   | DELETE    |
// | TAB     |  Q  |  W  |  E   |  R   |  T   |   | DOWN_ARROW  |   |  Y   |  U    |  I    |  O   |   P   | BACKSPACE |
// | CAPS    |  A  |  S  |  D   |  F   |  G   |   | LEFT_ARROW  |   |  H   |  J    |  K    |  L   |   ;   | ENTER     |
// | L_SHIFT |  Z  |  X  |  C   |  V   |  B   |   | RIGHT_ARROW |   |  N   |  M    |  ,    |  .   |   /   | SHIFT     |
// | C_MUTE  |  | L_GUI | L_ALT | NAV | SPACE| L_CTL |  | ENTER |  | R_CTL | SPACE | R_ALT | TD_1_7 | R_GUI |
// | C_VOL_UP ! C_VOL_DN |

            bindings = <
&gresc      &kp N1        &kp N2        &kp N3  &kp N4     &kp N5       &kp UP_ARROW     &kp N6     &kp N7     &kp N8     &kp N9   &kp N0    &kp DELETE
&kp TAB     &kp Q         &kp W         &kp E   &kp R      &kp T        &kp DOWN_ARROW   &kp Y      &kp U      &kp I      &kp O    &kp P     &kp BACKSPACE
&kp CAPS    &kp A         &kp S         &kp D   &kp F      &kp G        &kp LEFT_ARROW   &kp H      &kp J      &kp K      &kp L    &kp SEMI  &kp ENTER
&kp LSHFT   &kp Z         &kp X         &kp C   &kp V      &kp B        &kp RIGHT_ARROW  &kp N      &kp M      &kp COMMA  &kp DOT  &kp FSLH  &kp RIGHT_SHIFT
&kp C_MUTE  &kp LEFT_WIN  &kp LEFT_ALT  &mo 1   &kp SPACE  &kp LCTRL    &kp ENTER        &kp RCTRL  &kp SPACE  &kp RALT   &to 1    &kp RGUI
            >;

            sensor-bindings = <&inc_dec_kp C_VOLUME_UP C_VOL_DN>;
        };
    
        ergol_layer { // layer 1

            display-name = "Ergo2qw";  // Ergol sur QWERTY US International
            label = "Ergo2qw_default";

// --------------------------------------------------------------------------------------------------------------------
// |         | 1/€ | 2 « | 3 »  |      |      |   |             |   |      |       |       |  9 # |  0 @  |           |
// |         |     |  C  |  O   |  P   |  W   |   |             |   |  J   |  U    |  D    | DK ! |   Y   |           |
// | TOG_4   |     |     |  E   |  N   |  F   |   |             |   |  L   |  R    |  T    |  I   |   U   |           |
// |         |     |     |  - ? |      |      |   |             |   | . :  |  H    |  G    |  , ; |   K   |           |
// |      |  |      |      | NAV | SP SP_INSEC |     |  |       |  |      | SP SP_INSEC | MO_CHARS | TD_0_7 |      |       !!!
// | C_VOL_UP ! C_VOL_DN |

            bindings = <
&trans      &euro         &chevron_l    &chevron_r &trans     &trans       &trans           &trans      &trans     &trans    &sharp     &arob     &trans
&trans      &trans        &kp C         &kp O      &kp P      &kp W        &trans           &kp J       &kp M      &kp D     &dead1     &kp Y     &trans
&tog 4      &trans        &trans        &kp E      &kp N      &kp F        &trans           &kp L       &kp R      &kp T     &kp I      &kp U     &trans
&trans      &trans        &trans        &moins     &trans     &trans       &trans           &point      &kp H      &kp G     &virg      &kp K     &trans
&trans      &trans        &trans        &mo 6      &trans     &trans       &trans           &trans      &trans     &mo 5     &td1       &trans
            >;

            sensor-bindings = <&inc_dec_kp C_VOLUME_UP C_VOL_DN>;
        };

        dead_1k_layer { // layer 2

            label = "Ergo2qw_1dk";
            display-name = "Ergo2qw_1dk";

// --------------------------------------------------------------------------------------------------------------
// |         |      | “ !! | ” !! |      |      |   |         |   |      |       |       |      |       |         |    !!!
// |         |  â   |  ç   | œ !! |   ô  |      |   |         |   |      |       |   _   |  ¨   |   û   |         |    !!!
// |         |  à   |  é   |  è   |   ê  |      |   |         |   |   (  |    )  |   î   |  ï   |   ù   |         |
// |         | æ !! |      | ‑ !! | – !! | — !! |   |         |   | … !! |       |       |      |       |         |    !!!
// |      |  |      |      |      |      |      |   |         |   |      |       |       |      |       |
// | C_VOL_UP ! C_VOL_DN |
    
            bindings = <
&trans      &trans     &trans     &trans       &trans     &trans    &trans   &trans    &trans   &trans    &trans     &trans    &trans
&trans      &a_circ    &c_cedi    &trans       &o_circ    &trans    &trans   &trans    &trans   &kp UNDER &sl 3      &u_circ    &trans
&trans      &a_grave   &e_aigu    &e_grave     &e_circ    &trans    &trans   &kp LPAR  &kp RPAR &i_circ   &i_trem    &u_grave  &trans
&trans      &trans     &trans     &trans       &trans     &trans    &trans   &trans    &trans   &trans    &trans     &trans    &trans
&trans      &trans     &trans     &trans       &trans     &trans    &trans   &trans    &trans   &trans    &trans     &trans
            >;

            sensor-bindings = <&inc_dec_kp C_VOLUME_UP C_VOL_DN>;
        };

        dead_2k_layer { // layer 3

            label = "Ergo2qw_2dk";
            display-name = "Ergo2qw_2dk";

// --------------------------------------------------------------------------------------------------------------
// |         |     |     |      |      |      |   |         |   |      |       |       |      |       |         |   
// |         |     |     |  ö   |      |      |   |         |   |      |       |       |  "   | ÿ !!  |         |   !!!
// |         |  ä  |     |  ë   |      |      |   |         |   |      |       |       |  ï   |   ü   |         |
// |         |     |     |      |      |      |   |         |   |      |       |       |      |       |         |
// |      |  |     |     |      | ¨ !! |     |   |        |   |      | ¨ !!  |       |      |       |               !!!   " et pas trema !! 
// | C_VOL_UP ! C_VOL_DN |
    
            bindings = <
&trans  &trans    &trans   &trans    &trans     &trans    &trans   &trans   &trans     &trans    &trans     &trans    &trans
&trans  &trans    &trans   &o_trem   &trans     &trans    &trans   &trans   &trans     &trans    &kp DQT    &trans    &trans
&trans  &a_trem   &trans   &e_trem   &trans     &trans    &trans   &trans   &trans     &trans    &i_trem    &u_trem   &trans
&trans  &trans    &trans   &trans    &trans     &trans    &trans   &trans   &trans     &trans    &trans     &trans    &trans
&trans  &trans    &trans   &trans    &macro_dqt &trans    &trans   &trans   &macro_dqt &trans    &trans     &trans
            >;

            sensor-bindings = <&inc_dec_kp C_VOLUME_UP C_VOL_DN>;
        };

        caps_layer { // layer 4 

            label = "Ergo2qw_caps";
            display-name = "Ergo2qw_caps";

// --------------------------------------------------------------------------------------------------------------
// |   NONE  |  1  |  2  |  3   |      |      |   |         |   |      |       |       |  8   |   9   |         |
// |         |     |     |      |      |      |   |         |   |      |       |       |      |       |         |
// |  TOG_4  |     |     |      |      |      |   |         |   |      |       |       |      |       |         |
// |         |     |     |      |      |      |   |         |   |      |       |       |      |       |         |
// |      |  |     |     |      |      |      |   |         |   |      |       |       |      |       |
// | C_VOL_UP ! C_VOL_DN |
    
            bindings = <
&none       &kp N1     &kp N2     &kp N3       &trans     &trans    &trans   &trans       &trans     &trans    &kp N9     &kp N0    &trans
&trans      &trans     &trans     &trans       &trans     &trans    &trans   &trans       &trans     &trans    &trans     &trans    &trans
&tog 4      &trans     &trans     &trans       &trans     &trans    &trans   &trans       &trans     &trans    &trans     &trans    &trans
&trans      &trans     &trans     &trans       &trans     &trans    &trans   &trans       &trans     &trans    &trans     &trans    &trans
&trans      &trans     &trans     &trans       &trans     &trans    &trans   &trans       &trans     &trans    &trans     &trans
            >;

            sensor-bindings = <&inc_dec_kp C_VOLUME_UP C_VOL_DN>;
        };

        chars_layer { // layer 5

            label = "Ergo2qw_chars";
            display-name = "Ergo2qw_chars";

// --------------------------------------------------------------------------------------------------------------
// |         |     |     |      |      |      |   |         |   |      |       |       |      |       |         |   indices !!!
// |         |  ^  |  <  |  >   |   $  |   %  |   |         |   |   @  |   &   |   *   |  '   |   `   |         |   
// |         |  {  |  (  |  )   |   }  |   =  |   |         |   |   \  |   +   |   -   |  /   |   "   |         |
// |         |  ~  |  [  |  ]   |   _  |   #  |   |         |   |   |  |   !   |   ;   |  :   |   ?   |         |
// |      |  |     |     |      |      |      |   |         |   |      |       |       |      |       |
// | C_VOL_UP ! C_VOL_DN |
    
            bindings = <
&trans      &trans       &trans        &trans       &trans     &trans     &trans   &trans       &trans     &trans     &trans     &trans       &trans
&trans      &macro_caret &kp LT        &kp GT       &kp DLLR   &kp PRCNT  &trans   &kp AT       &kp AMPS   &kp STAR   &macro_sqt &macro_grave &trans
&trans      &kp LBRC     &kp LPAR      &kp RPAR     &kp RBRC   &kp EQUAL  &trans   &kp BSLH     &kp PLUS   &kp MINUS  &kp FSLH   &macro_dqt   &trans
&trans      &kp TILDE    &kp LBKT      &kp RBKT     &kp UNDER  &kp HASH   &trans   &kp PIPE     &kp EXCL   &kp SEMI   &kp COLON  &kp QMARK    &trans
&trans      &trans       &trans        &trans       &trans     &trans     &trans   &trans       &trans     &trans     &trans     &trans
            >;

            sensor-bindings = <&inc_dec_kp C_VOLUME_UP C_VOL_DN>;
        };
        
        nav_fn_kp_layer { // layer 6 
            
            display-name = "Fn-Nav-KP";
            label = "Fn-Nav-KP";
            
            bindings = <
&kp GRAVE   &kp F1           &kp F2          &kp F3          &kp F4           &kp F5             &mmv MOVE_UP     &kp F6        &kp F7     &kp F8     &kp F9     &kp F10         &kp F11
&trans      &kp INS          &kp HOME        &kp UP_ARROW    &kp END          &kp PG_UP          &mmv MOVE_DOWN   &kp KP_SLASH  &kp KP_N7  &kp KP_N8  &kp KP_N9  &kp KP_MULTIPLY &kp F12
&trans      &kp PSCRN        &kp LEFT_ARROW  &kp DOWN_ARROW  &kp RIGHT_ARROW  &kp PG_DN          &mmv MOVE_LEFT   &kp KP_MINUS  &kp KP_N4  &kp KP_N5  &kp KP_N6  &kp KP_N0       &trans
&trans      &none            &kp C_VOL_DN    &kp C_MUTE      &kp C_VOLUME_UP  &none              &mmv MOVE_RIGHT  &kp KP_PLUS   &kp KP_N1  &kp KP_N2  &kp KP_N3  &kp KP_DOT      &trans
&kp C_MUTE  &trans           &trans          &trans          &trans           &trans             &mkp LCLK        &trans        &trans     &trans     &trans     &trans
            >;

            sensor-bindings = <&scroll_encoder>;
        };

        config_layer { // layer 7 
            display-name = "config";
            label = "config";
            
            bindings = <
&soft_off    &bt BT_SEL 0  &bt BT_SEL 1    &bt BT_SEL 2  &bt BT_SEL 3  &bt BT_SEL 4    &trans       &trans          &trans           &trans           &trans  &trans  &soft_off
&sys_reset   &bt BT_CLR    &bt BT_CLR_ALL  &trans        &trans        &trans          &trans       &trans          &trans           &trans           &trans  &trans  &sys_reset
&bootloader  &out OUT_USB  &out OUT_BLE    &trans        &trans        &trans          &trans       &trans          &trans           &trans           &trans  &trans  &bootloader
&trans       &trans        &trans          &bootloader   &trans        &trans          &trans       &rgb_ug RGB_ON  &rgb_ug RGB_OFF  &rgb_ug RGB_EFF  &trans  &trans  &trans
&trans       &trans        &trans          &trans        &trans        &trans          &trans       &trans          &trans           &trans           &tog 7  &trans
            >;

            sensor-bindings = <&scroll_encoder>;
        };

    };
};
